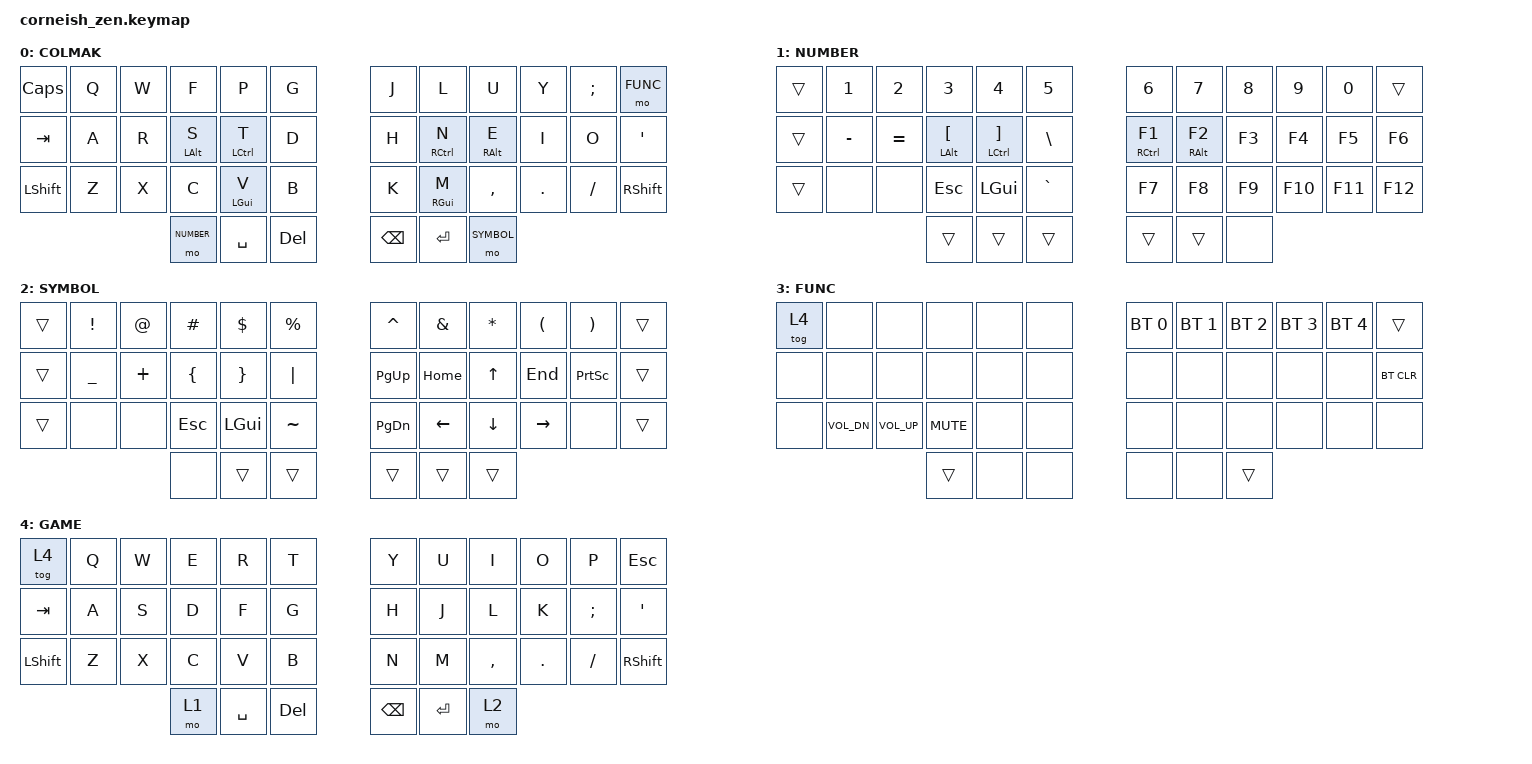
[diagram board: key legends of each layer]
/*
 * Copyright (c) 2020 The ZMK Contributors
 *
 * SPDX-License-Identifier: MIT
 */

#include <behaviors.dtsi>
#include <dt-bindings/zmk/bt.h>
#include <dt-bindings/zmk/keys.h>
#include <dt-bindings/zmk/outputs.h>
#include <dt-bindings/zmk/rgb.h>

/ {
    chosen {
        zmk,matrix_transform = &default_transform;

        // zmk,matrix_transform = &five_column_transform;
    };
};

#define DEFAULT 0
#define NUMBER  1
#define SYMBOL  2
#define FUNC    3

/ {
    behaviors {
        td0: td0 {
            compatible = "zmk,behavior-tap-dance";
            label = "TD0";
            #binding-cells = <0>;
            bindings = <&kp LEFT_SHIFT>, <&kp CAPS>;
        };

        rpi: require_prior_idle {
            compatible = "zmk,behavior-hold-tap";
            #binding-cells = <2>;
            flavor = "tap-preferred";
            tapping-term-ms = <200>;
            quick-tap-ms = <200>;
            // require-prior-idle-ms = <125>;
            bindings = <&kp>, <&kp>;
        };

    };

    keymap {
        compatible = "zmk,keymap";



        default_layer {
            display-name = "COLMAK";

            // --------------------------------------------------------------------------------
            // | CAPS |  Q  |  W  |  F   |   P   |  G  |   |  J  |   L   |  U   |  Y  |  ;  | <FUNC>  |
            // | TAB  |  A  |  R  |alt(S)|ctrl(T)|  D  |   |  H  |ctrl(N)|alt(E)|  I  |  O  |  '   | 
            // | SHFT |  Z  |  X  |  C   |gui(V) |  B  |   |  K  |gui(M) |  ,   |  .  |  /  | SHFT |
            //                  |<NUMBER>|  SPC  | DEL |   | BSP | ENT   |<SYMBOL>|

            bindings = <
&kp CAPS    &kp Q  &kp W  &kp F        &kp P         &kp G      &kp J     &kp L         &kp U        &kp Y    &kp SEMI  &mo FUNC
&kp TAB     &kp A  &kp R  &rpi LALT S  &rpi LCTRL T  &kp D      &kp H     &rpi RCTRL N  &rpi RALT E  &kp I    &kp O     &kp SQT
&kp LSHIFT  &kp Z  &kp X  &kp C        &rpi LGUI V   &kp B      &kp K     &rpi RGUI M   &kp COMMA    &kp DOT  &kp FSLH  &kp RSHIFT
                          &mo NUMBER   &kp SPACE     &kp DEL    &kp BSPC  &kp RET       &mo SYMBOL
            >;
        
        };

        number_layer {
            display-name = "NUMBER";

            // -----------------------------------------------------------------------------------------
            // | CAPS  |  1  |  2  |  3   |  4    |  5  |   |  6  |  7     |  8    |  9  |  0  | ESC  |
            // | TAB   |  -  |  =  |alt([)|ctlr(])|  \  |   | F1  |ctrl(F2)|alt(F3)| F4  | F5  | F6   |
            // | SHFT  |     |     | ESC  |LGUI   |  `  |   | F7  |gui(F8) |  F9   | F10 | F11 | F12  |
            //                    | GUI |     | SPC |    | BSP | ENT |    |

            bindings = <
&trans  &kp N1     &kp N2     &kp N3          &kp N4           &kp N5       &kp N6         &kp N7        &kp N8    &kp N9   &kp N0   &trans
&trans  &kp MINUS  &kp EQUAL  &rpi LALT LBKT  &rpi LCTRL RBKT  &kp BSLH     &rpi RCTRL F1  &rpi RALT F2  &kp F3    &kp F4   &kp F5   &kp F6
&trans  &none      &none      &kp ESC         &kp LGUI         &kp GRAVE    &kp F7         &kp F8        &kp F9    &kp F10  &kp F11  &kp F12
                              &trans          &trans           &trans       &trans         &trans        &none
            >;
        
        };

        symbol_layer {
            display-name = "SYMBOL";

            // -----------------------------------------------------------------------------------------
            // | CAPS |  !  |  @  |  #  |  $  |  %  |   |  ^  |  &  |  *  |  (  |  )  | ESC  |
            // | TAB  |  _  |  +  |  {  |  }  |  |  |   |PgUp |HOME |  ↑  | END |PrSc |      |
            // | SHFT |     |     | ESC | LGUI|  ~  |   |PgDn |  ←  |  ↓  |  →  |     | SHFT |
            //                   |     | SPC | DEL |   | BSP | ENT |<SYMBOL>|

            bindings = <
&trans  &kp EXCL   &kp AT    &kp HASH  &kp DLLR  &kp PRCNT    &kp CARET  &kp AMPS  &kp ASTRK  &kp LPAR   &kp RPAR   &trans
&trans  &kp UNDER  &kp PLUS  &kp LBRC  &kp RBRC  &kp PIPE     &kp PG_UP  &kp HOME  &kp UP     &kp END    &kp PSCRN  &trans
&trans  &none      &none     &kp ESC   &kp LGUI  &kp TILDE    &kp PG_DN  &kp LEFT  &kp DOWN   &kp RIGHT  &none      &trans
                             &none   &trans    &trans       &trans     &trans    &trans
            >;
        
        };

        func_layer {
            display-name = "FUNC";
            bindings = <
&tog 4  &none         &none         &none       &none  &none    &bt BT_SEL 0  &bt BT_SEL 1  &bt BT_SEL 2  &bt BT_SEL 3  &bt BT_SEL 4  &trans 
&none   &none         &none         &none       &none  &none    &none         &none         &none         &none         &none         &bt BT_CLR
&none   &kp C_VOL_DN  &kp C_VOL_UP  &kp C_MUTE  &none  &none    &none         &none         &none         &none         &none         &none
                                    &trans      &none  &none    &none         &none         &trans
            >;
        
        };

        game_layer {
            display-name = "GAME";
            label = "GAME";

            bindings = <
&tog 4     &kp Q  &kp W  &kp E  &kp R      &kp T         &kp Y          &kp U      &kp I      &kp O    &kp P          &kp ESC
&kp TAB    &kp A  &kp S  &kp D  &kp F      &kp G         &kp H          &kp J      &kp L      &kp K    &kp SEMICOLON  &kp SINGLE_QUOTE
&kp LSHFT  &kp Z  &kp X  &kp C  &kp V      &kp B         &kp N          &kp M      &kp COMMA  &kp DOT  &kp SLASH      &kp RSHFT
                         &mo 1  &kp SPACE  &kp DELETE    &kp BACKSPACE  &kp ENTER  &mo 2
            >;

        };
    };
};
